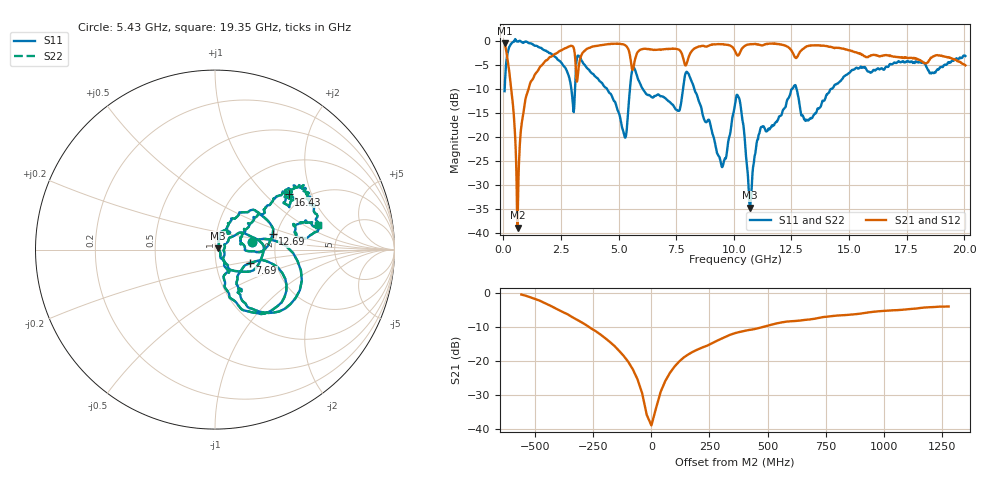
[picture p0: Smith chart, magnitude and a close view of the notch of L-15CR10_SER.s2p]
#	mhz	s	ma	r	50
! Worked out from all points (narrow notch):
!   1001 points, 50 MHz to 20.05 GHz, reference 50 ohm
!   highest |S21| = -0.58 dB at 50 MHz (marker M1); lowest = -38.9 dB at 610 MHz (marker M2)
!   notch at M2: 37.0 dB deep, 215 MHz wide at half that depth
!   lowest |S11| = -34.8 dB at 10.69 GHz (marker M3), VSWR 1.04, Z = 51.6 + j0.854 ohm
!   |S11| at or under -10 dB: 6.037 GHz to 7.794 GHz (1.757 GHz wide, 25.4 % of centre); 8.279 GHz to 12.54 GHz (4.264 GHz wide, 41 % of centre); 12.72 GHz to 14.27 GHz (1.55 GHz wide, 11.5 % of centre) (the widest 3 of 6)
!   |S22| runs from -34.8 to 0.3 dB; largest |S21 - S12| = 0
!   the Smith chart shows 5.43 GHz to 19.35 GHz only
!   S11 on the Smith chart (normalised r, x): 5.43 GHz: 1.51, +0.14; 7.69 GHz: 1.46, -0.23; 12.69 GHz: 1.90, +0.38; 16.43 GHz: 1.67, +1.40; 19.35 GHz: 3.22, +1.37
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50  0.2972 70.4  0.9358 -16.7  0.9358 -16.7  0.2972 70.4
610  0.9743 -2.6  0.0113 5.3  0.0113 5.3  0.9743 -2.6
1270  0.9178 -28.3  0.3975 63.6  0.3975 63.6  0.9178 -28.3
3010  0.223 -56.7  0.8688 4.5  0.8688 4.5  0.223 -56.7
3390  0.6184 -51.7  0.7083 30.6  0.7083 30.6  0.6184 -51.7
5230  0.1055 -49.0  0.9031 -8.4  0.9031 -8.4  0.1055 -49.0
5430  0.2105 12.1  0.8008 -18.6  0.8008 -18.6  0.2105 12.1
5650  0.5239 -31.1  0.5303 5.9  0.5303 5.9  0.5239 -31.1
6730  0.2748 -57.3  0.8041 -4.0  0.8041 -4.0  0.2748 -57.3
7690  0.2096 -21.3  0.7705 -17.4  0.7705 -17.4  0.2096 -21.3
8030  0.4518 -52.0  0.6638 4.6  0.6638 4.6  0.4518 -52.0
9510  0.04873 -1.8  0.9143 -16.1  0.9143 -16.1  0.04873 -1.8
10050  0.2166 19.1  0.7791 -25.1  0.7791 -25.1  0.2166 19.1
10310  0.1957 -39.0  0.7901 -10.2  0.7901 -10.2  0.1957 -39.0
10690  0.01821 27.0  0.9142 -16.9  0.9142 -16.9  0.01821 27.0
11170  0.1239 62.1  0.8935 -22.6  0.8935 -22.6  0.1239 62.1
12690  0.3342 15.3  0.6574 -32.3  0.6574 -32.3  0.3342 15.3
13390  0.1558 25.1  0.8906 -31.6  0.8906 -31.6  0.1558 25.1
16430  0.5138 36.8  0.6924 -47.2  0.6924 -47.2  0.5138 36.8
16730  0.5445 38.0  0.6963 -48.8  0.6963 -48.8  0.5445 38.0
19350  0.588 13.7  0.6628 -65.4  0.6628 -65.4  0.588 13.7
20050  0.6903 2.3  0.5512 -78.1  0.5512 -78.1  0.6903 2.3
